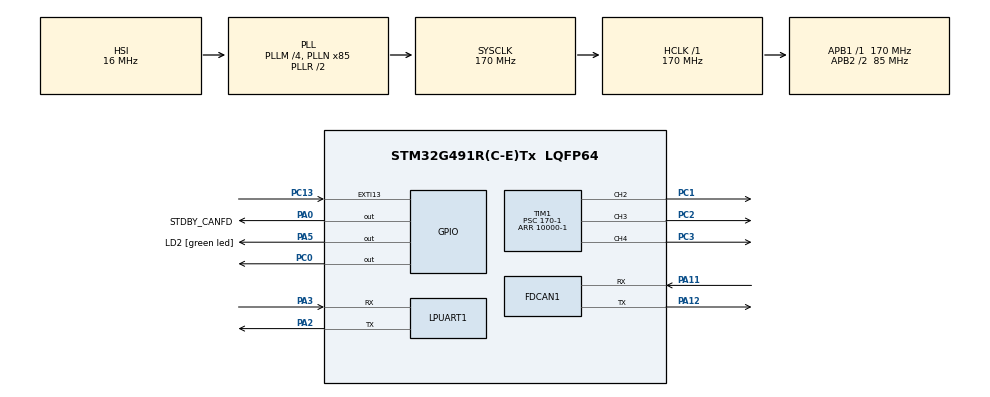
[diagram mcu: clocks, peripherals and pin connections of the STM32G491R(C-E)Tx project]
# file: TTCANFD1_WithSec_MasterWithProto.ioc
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Dma.LPUART1_TX.0.Direction=DMA_MEMORY_TO_PERIPH
Dma.LPUART1_TX.0.EventEnable=DISABLE
Dma.LPUART1_TX.0.Instance=DMA1_Channel1
Dma.LPUART1_TX.0.MemDataAlignment=DMA_MDATAALIGN_BYTE
Dma.LPUART1_TX.0.MemInc=DMA_MINC_ENABLE
Dma.LPUART1_TX.0.Mode=DMA_NORMAL
Dma.LPUART1_TX.0.PeriphDataAlignment=DMA_PDATAALIGN_BYTE
Dma.LPUART1_TX.0.PeriphInc=DMA_PINC_DISABLE
Dma.LPUART1_TX.0.Polarity=HAL_DMAMUX_REQ_GEN_RISING
Dma.LPUART1_TX.0.Priority=DMA_PRIORITY_MEDIUM
Dma.LPUART1_TX.0.RequestNumber=1
Dma.LPUART1_TX.0.SignalID=NONE
Dma.LPUART1_TX.0.SyncEnable=DISABLE
Dma.LPUART1_TX.0.SyncPolarity=HAL_DMAMUX_SYNC_NO_EVENT
Dma.LPUART1_TX.0.SyncRequestNumber=1
Dma.LPUART1_TX.0.SyncSignalID=NONE
Dma.Request0=LPUART1_TX
FDCAN1.AutoRetransmission=ENABLE
FDCAN1.CalculateBaudRateNominal=999999
FDCAN1.CalculateTimeBitNominal=1000
FDCAN1.CalculateTimeQuantumNominal=29.411764705882355
FDCAN1.DataPrescaler=1
FDCAN1.DataSyncJumpWidth=3
FDCAN1.DataTimeSeg1=17
FDCAN1.DataTimeSeg2=3
FDCAN1.FrameFormat=FDCAN_FRAME_FD_BRS
FDCAN1.NominalPrescaler=5
FDCAN1.NominalSyncJumpWidth=5
FDCAN1.NominalTimeSeg1=28
FDCAN1.NominalTimeSeg2=5
FDCAN1.ProtocolException=ENABLE
FDCAN1.StdFiltersNbr=1
FDCAN1.TransmitPause=ENABLE
Mcu.Family=STM32G4
Mcu.Name=STM32G491R(C-E)Tx
Mcu.Package=LQFP64
NVIC.DMA1_Channel1_IRQn=true\:0\:0\:false\:false\:true\:false\:true\:true
NVIC.EXTI15_10_IRQn=true\:2\:0\:true\:false\:true\:true\:true\:true
NVIC.FDCAN1_IT0_IRQn=true\:0\:0\:false\:false\:true\:true\:true\:true
NVIC.FDCAN1_IT1_IRQn=true\:0\:0\:false\:false\:true\:true\:true\:true
NVIC.LPUART1_IRQn=true\:2\:0\:true\:false\:true\:true\:true\:true
NVIC.PriorityGroup=NVIC_PRIORITYGROUP_4
NVIC.TIM1_CC_IRQn=true\:1\:0\:true\:false\:true\:true\:true\:true
NVIC.TIM1_TRG_COM_TIM17_IRQn=true\:3\:0\:true\:false\:true\:true\:true\:true
NVIC.TIM1_UP_TIM16_IRQn=true\:3\:0\:true\:false\:true\:true\:true\:true
PA0.GPIO_Label=STDBY_CANFD
PA0.GPIO_PuPd=GPIO_PULLDOWN
PA0.GPIO_Speed=GPIO_SPEED_FREQ_VERY_HIGH
PA0.Signal=GPIO_Output
PA11.Mode=FDCAN_Activate
PA11.Signal=FDCAN1_RX
PA12.Mode=FDCAN_Activate
PA12.Signal=FDCAN1_TX
PA13.GPIO_Label=T_SWDIO
PA13.Mode=Trace_Asynchronous_SW
PA13.Signal=SYS_JTMS-SWDIO
PA14.GPIO_Label=T_SWCLK
PA14.Mode=Trace_Asynchronous_SW
PA14.Signal=SYS_JTCK-SWCLK
PA2.GPIO_Mode=GPIO_MODE_AF_PP
PA2.GPIO_PuPd=GPIO_NOPULL
PA2.GPIO_Speed=GPIO_SPEED_FREQ_LOW
PA2.Mode=Asynchronous
PA2.Signal=LPUART1_TX
PA3.GPIO_Mode=GPIO_MODE_AF_PP
PA3.GPIO_PuPd=GPIO_NOPULL
PA3.GPIO_Speed=GPIO_SPEED_FREQ_LOW
PA3.Mode=Asynchronous
PA3.Signal=LPUART1_RX
PA5.GPIO_Label=LD2 [green led]
PA5.GPIO_Speed=GPIO_SPEED_FREQ_VERY_HIGH
PA5.Signal=GPIO_Output
PB3.GPIO_Label=T_SWO
PB3.Mode=Trace_Asynchronous_SW
PB3.Signal=SYS_JTDO-SWO
PC0.Signal=GPIO_Output
PC1.Signal=S_TIM1_CH2
PC13.Signal=GPXTI13
PC14-OSC32_IN.GPIO_Label=RCC_OSC32_IN
PC14-OSC32_IN.Mode=LSE-External-Oscillator
PC14-OSC32_IN.Signal=RCC_OSC32_IN
PC15-OSC32_OUT.GPIO_Label=RCC_OSC32_OUT
PC15-OSC32_OUT.Mode=LSE-External-Oscillator
PC15-OSC32_OUT.Signal=RCC_OSC32_OUT
PC2.Signal=S_TIM1_CH3
PC3.Signal=S_TIM1_CH4
PF0-OSC_IN.GPIO_Label=RCC_OSC_IN
PF0-OSC_IN.Mode=HSE-External-Oscillator
PF0-OSC_IN.Signal=RCC_OSC_IN
PF1-OSC_OUT.GPIO_Label=RCC_OSC_OUT
PF1-OSC_OUT.Mode=HSE-External-Oscillator
PF1-OSC_OUT.Signal=RCC_OSC_OUT
ProjectManager.HeapSize=0x600
ProjectManager.StackSize=0x600
ProjectManager.TargetToolchain=STM32CubeIDE
RCC.ADC12Freq_Value=170000000
RCC.ADC345Freq_Value=170000000
RCC.AHBFreq_Value=170000000
RCC.APB1Freq_Value=170000000
RCC.APB1TimFreq_Value=170000000
RCC.APB2CLKDivider=RCC_HCLK_DIV2
RCC.APB2Freq_Value=85000000
RCC.APB2TimFreq_Value=170000000
RCC.CortexFreq_Value=170000000
RCC.EXTERNAL_CLOCK_VALUE=12288000
RCC.HCLKFreq_Value=170000000
RCC.HSE_VALUE=48000000
RCC.HSI48_VALUE=48000000
RCC.HSI_VALUE=16000000
RCC.LPUART1CLockSelection=RCC_LPUART1CLKSOURCE_HSI
RCC.PLLM=RCC_PLLM_DIV4
RCC.PLLN=85
RCC.RTCClockSelection=RCC_RTCCLKSOURCE_LSE
RCC.SYSCLKFreq_VALUE=170000000
RCC.SYSCLKSource=RCC_SYSCLKSOURCE_PLLCLK
RCC.USBFreq_Value=48000000
RCC.VCOOutputFreq_Value=340000000
SH.S_TIM1_CH2.0=TIM1_CH2,Output Compare2 CH2
SH.S_TIM1_CH3.0=TIM1_CH3,Output Compare3 CH3
SH.S_TIM1_CH4.0=TIM1_CH4,Output Compare4 CH4
TIM1.AutoReloadPreload=TIM_AUTORELOAD_PRELOAD_DISABLE
TIM1.Channel-Output\ Compare2\ CH2=TIM_CHANNEL_2
TIM1.Channel-Output\ Compare3\ CH3=TIM_CHANNEL_3
TIM1.Channel-Output\ Compare4\ CH4=TIM_CHANNEL_4
TIM1.OCMode_2=TIM_OCMODE_TOGGLE
TIM1.OCMode_3=TIM_OCMODE_TOGGLE
TIM1.OCMode_4=TIM_OCMODE_TOGGLE
TIM1.OCPolarity_4=TIM_OCPOLARITY_HIGH
TIM1.PeriodNoDither=10000-1
TIM1.Prescaler=170-1
TIM1.TIM_MasterOutputTrigger=TIM_TRGO_UPDATE
TIM1.TIM_MasterOutputTrigger2=TIM_TRGO2_UPDATE
TIM2.AutoReloadPreload=TIM_AUTORELOAD_PRELOAD_ENABLE
TIM2.Prescaler=170-1
VP_SYS_VS_DBSignals.Mode=DisableDeadBatterySignals
VP_TIM1_VS_ClockSourceINT.Mode=Internal
VP_TIM2_VS_ClockSourceINT.Mode=Internal
board=NUCLEO-G491RE

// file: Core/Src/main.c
/* USER CODE BEGIN Header */
/**
  ******************************************************************************
  * @file           : main.c
  * @brief          : Main program body
  ******************************************************************************
  * @attention
  *
  * Copyright (c) 2025 STMicroelectronics.
  * All rights reserved.
  *
  * This software is licensed under terms that can be found in the LICENSE file
  * in the root directory of this software component.
  * If no LICENSE file comes with this software, it is provided AS-IS.
  *
  ******************************************************************************
  */
/* USER CODE END Header */
#include "main.h"

/* USER CODE BEGIN Includes */
#include "Main_Funcs.h"
#include "pb.h"
#include "pb_common.h"
#include "pb_encode.h"
#include "pb_decode.h"
#include "uart.pb.h"

#include "encoder.h"
/* USER CODE END Includes */

FDCAN_HandleTypeDef hfdcan1;

UART_HandleTypeDef hlpuart1;
DMA_HandleTypeDef hdma_lpuart1_tx;

TIM_HandleTypeDef htim1;
TIM_HandleTypeDef htim2;

void SystemClock_Config(void);
static void MX_GPIO_Init(void);
static void MX_DMA_Init(void);
static void MX_FDCAN1_Init(void);
static void MX_TIM2_Init(void);
static void MX_LPUART1_UART_Init(void);
static void MX_TIM1_Init(void);

int main(void)
{

  /* MCU Configuration--------------------------------------------------------*/

  /* Reset of all peripherals, Initializes the Flash interface and the Systick. */
  HAL_Init();

  /* Configure the system clock */
  SystemClock_Config();

  /* Initialize all configured peripherals */
  MX_GPIO_Init();
  MX_DMA_Init();
  MX_FDCAN1_Init();
  MX_TIM2_Init();
  MX_LPUART1_UART_Init();
  MX_TIM1_Init();
  /* USER CODE BEGIN 2 */
  MainInit();
  /* USER CODE END 2 */

  /* Infinite loop */
  /* USER CODE BEGIN WHILE */
  while (1)
  {
	  MainLoop();
    /* USER CODE END WHILE */

  }
}

void SystemClock_Config(void)
{
  RCC_OscInitTypeDef RCC_OscInitStruct = {0};
  RCC_ClkInitTypeDef RCC_ClkInitStruct = {0};

  /** Configure the main internal regulator output voltage
  */
  HAL_PWREx_ControlVoltageScaling(PWR_REGULATOR_VOLTAGE_SCALE1_BOOST);

  /** Initializes the RCC Oscillators according to the specified parameters
  * in the RCC_OscInitTypeDef structure.
  */
  RCC_OscInitStruct.OscillatorType = RCC_OSCILLATORTYPE_HSI;
  RCC_OscInitStruct.HSIState = RCC_HSI_ON;
  RCC_OscInitStruct.HSICalibrationValue = RCC_HSICALIBRATION_DEFAULT;
  RCC_OscInitStruct.PLL.PLLState = RCC_PLL_ON;
  RCC_OscInitStruct.PLL.PLLSource = RCC_PLLSOURCE_HSI;
  RCC_OscInitStruct.PLL.PLLM = RCC_PLLM_DIV4;
  RCC_OscInitStruct.PLL.PLLN = 85;
  RCC_OscInitStruct.PLL.PLLP = RCC_PLLP_DIV2;
  RCC_OscInitStruct.PLL.PLLQ = RCC_PLLQ_DIV2;
  RCC_OscInitStruct.PLL.PLLR = RCC_PLLR_DIV2;
  if (HAL_RCC_OscConfig(&RCC_OscInitStruct) != HAL_OK)
  {
    Error_Handler();
  }

  /** Initializes the CPU, AHB and APB buses clocks
  */
  RCC_ClkInitStruct.ClockType = RCC_CLOCKTYPE_HCLK|RCC_CLOCKTYPE_SYSCLK
                              |RCC_CLOCKTYPE_PCLK1|RCC_CLOCKTYPE_PCLK2;
  RCC_ClkInitStruct.SYSCLKSource = RCC_SYSCLKSOURCE_PLLCLK;
  RCC_ClkInitStruct.AHBCLKDivider = RCC_SYSCLK_DIV1;
  RCC_ClkInitStruct.APB1CLKDivider = RCC_HCLK_DIV1;
  RCC_ClkInitStruct.APB2CLKDivider = RCC_HCLK_DIV2;

  if (HAL_RCC_ClockConfig(&RCC_ClkInitStruct, FLASH_LATENCY_4) != HAL_OK)
  {
    Error_Handler();
  }
}

static void MX_FDCAN1_Init(void)
{

  hfdcan1.Instance = FDCAN1;
  hfdcan1.Init.ClockDivider = FDCAN_CLOCK_DIV1;
  hfdcan1.Init.FrameFormat = FDCAN_FRAME_FD_BRS;
  hfdcan1.Init.Mode = FDCAN_MODE_NORMAL;
  hfdcan1.Init.AutoRetransmission = ENABLE;
  hfdcan1.Init.TransmitPause = ENABLE;
  hfdcan1.Init.ProtocolException = ENABLE;
  hfdcan1.Init.NominalPrescaler = 5;
  hfdcan1.Init.NominalSyncJumpWidth = 5;
  hfdcan1.Init.NominalTimeSeg1 = 28;
  hfdcan1.Init.NominalTimeSeg2 = 5;
  hfdcan1.Init.DataPrescaler = 1;
  hfdcan1.Init.DataSyncJumpWidth = 3;
  hfdcan1.Init.DataTimeSeg1 = 17;
  hfdcan1.Init.DataTimeSeg2 = 3;
  hfdcan1.Init.StdFiltersNbr = 1;
  hfdcan1.Init.ExtFiltersNbr = 0;
  hfdcan1.Init.TxFifoQueueMode = FDCAN_TX_FIFO_OPERATION;
  if (HAL_FDCAN_Init(&hfdcan1) != HAL_OK)
  {
    Error_Handler();
  }
  /* USER CODE BEGIN FDCAN1_Init 2 */
	  FDCAN_FilterTypeDef canfdfilter;

	  canfdfilter.IdType 		= FDCAN_STANDARD_ID;
	  canfdfilter.FilterIndex 	= 0;
	  canfdfilter.FilterType	= FDCAN_FILTER_RANGE;
	  canfdfilter.FilterConfig 	= FDCAN_FILTER_TO_RXFIFO0;
	  canfdfilter.FilterID1	    = 0x000;
	  canfdfilter.FilterID2		= 0x7FF;

	  if (HAL_FDCAN_ConfigFilter(&hfdcan1, &canfdfilter) != HAL_OK)
	  {
	    Error_Handler();
	  }
  /* USER CODE END FDCAN1_Init 2 */

}

static void MX_LPUART1_UART_Init(void)
{

  hlpuart1.Instance = LPUART1;
  hlpuart1.Init.BaudRate = 209700;
  hlpuart1.Init.WordLength = UART_WORDLENGTH_8B;
  hlpuart1.Init.StopBits = UART_STOPBITS_1;
  hlpuart1.Init.Parity = UART_PARITY_NONE;
  hlpuart1.Init.Mode = UART_MODE_TX_RX;
  hlpuart1.Init.HwFlowCtl = UART_HWCONTROL_NONE;
  hlpuart1.Init.OneBitSampling = UART_ONE_BIT_SAMPLE_DISABLE;
  hlpuart1.Init.ClockPrescaler = UART_PRESCALER_DIV1;
  hlpuart1.AdvancedInit.AdvFeatureInit = UART_ADVFEATURE_NO_INIT;
  if (HAL_UART_Init(&hlpuart1) != HAL_OK)
  {
    Error_Handler();
  }
  if (HAL_UARTEx_SetTxFifoThreshold(&hlpuart1, UART_TXFIFO_THRESHOLD_1_8) != HAL_OK)
  {
    Error_Handler();
  }
  if (HAL_UARTEx_SetRxFifoThreshold(&hlpuart1, UART_RXFIFO_THRESHOLD_1_8) != HAL_OK)
  {
    Error_Handler();
  }
  if (HAL_UARTEx_DisableFifoMode(&hlpuart1) != HAL_OK)
  {
    Error_Handler();
  }

}

static void MX_TIM1_Init(void)
{

  TIM_ClockConfigTypeDef sClockSourceConfig = {0};
  TIM_MasterConfigTypeDef sMasterConfig = {0};
  TIM_OC_InitTypeDef sConfigOC = {0};
  TIM_BreakDeadTimeConfigTypeDef sBreakDeadTimeConfig = {0};

  htim1.Instance = TIM1;
  htim1.Init.Prescaler = 170-1;
  htim1.Init.CounterMode = TIM_COUNTERMODE_UP;
  htim1.Init.Period = 9999;
  htim1.Init.ClockDivision = TIM_CLOCKDIVISION_DIV1;
  htim1.Init.RepetitionCounter = 0;
  htim1.Init.AutoReloadPreload = TIM_AUTORELOAD_PRELOAD_DISABLE;
  if (HAL_TIM_Base_Init(&htim1) != HAL_OK)
  {
    Error_Handler();
  }
  sClockSourceConfig.ClockSource = TIM_CLOCKSOURCE_INTERNAL;
  if (HAL_TIM_ConfigClockSource(&htim1, &sClockSourceConfig) != HAL_OK)
  {
    Error_Handler();
  }
  if (HAL_TIM_OC_Init(&htim1) != HAL_OK)
  {
    Error_Handler();
  }
  sMasterConfig.MasterOutputTrigger = TIM_TRGO_UPDATE;
  sMasterConfig.MasterOutputTrigger2 = TIM_TRGO2_UPDATE;
  sMasterConfig.MasterSlaveMode = TIM_MASTERSLAVEMODE_DISABLE;
  if (HAL_TIMEx_MasterConfigSynchronization(&htim1, &sMasterConfig) != HAL_OK)
  {
    Error_Handler();
  }
  sConfigOC.OCMode = TIM_OCMODE_TOGGLE;
  sConfigOC.Pulse = 0;
  sConfigOC.OCPolarity = TIM_OCPOLARITY_HIGH;
  sConfigOC.OCNPolarity = TIM_OCNPOLARITY_HIGH;
  sConfigOC.OCFastMode = TIM_OCFAST_DISABLE;
  sConfigOC.OCIdleState = TIM_OCIDLESTATE_RESET;
  sConfigOC.OCNIdleState = TIM_OCNIDLESTATE_RESET;
  if (HAL_TIM_OC_ConfigChannel(&htim1, &sConfigOC, TIM_CHANNEL_2) != HAL_OK)
  {
    Error_Handler();
  }
  if (HAL_TIM_OC_ConfigChannel(&htim1, &sConfigOC, TIM_CHANNEL_3) != HAL_OK)
  {
    Error_Handler();
  }
  if (HAL_TIM_OC_ConfigChannel(&htim1, &sConfigOC, TIM_CHANNEL_4) != HAL_OK)
  {
    Error_Handler();
  }
  sBreakDeadTimeConfig.OffStateRunMode = TIM_OSSR_DISABLE;
  sBreakDeadTimeConfig.OffStateIDLEMode = TIM_OSSI_DISABLE;
  sBreakDeadTimeConfig.LockLevel = TIM_LOCKLEVEL_OFF;
  sBreakDeadTimeConfig.DeadTime = 0;
  sBreakDeadTimeConfig.BreakState = TIM_BREAK_DISABLE;
  sBreakDeadTimeConfig.BreakPolarity = TIM_BREAKPOLARITY_HIGH;
  sBreakDeadTimeConfig.BreakFilter = 0;
  sBreakDeadTimeConfig.BreakAFMode = TIM_BREAK_AFMODE_INPUT;
  sBreakDeadTimeConfig.Break2State = TIM_BREAK2_DISABLE;
  sBreakDeadTimeConfig.Break2Polarity = TIM_BREAK2POLARITY_HIGH;
  sBreakDeadTimeConfig.Break2Filter = 0;
  sBreakDeadTimeConfig.Break2AFMode = TIM_BREAK_AFMODE_INPUT;
  sBreakDeadTimeConfig.AutomaticOutput = TIM_AUTOMATICOUTPUT_DISABLE;
  if (HAL_TIMEx_ConfigBreakDeadTime(&htim1, &sBreakDeadTimeConfig) != HAL_OK)
  {
    Error_Handler();
  }
  HAL_TIM_MspPostInit(&htim1);

}

static void MX_TIM2_Init(void)
{

  TIM_ClockConfigTypeDef sClockSourceConfig = {0};
  TIM_MasterConfigTypeDef sMasterConfig = {0};

  htim2.Instance = TIM2;
  htim2.Init.Prescaler = 170-1;
  htim2.Init.CounterMode = TIM_COUNTERMODE_UP;
  htim2.Init.Period = 4294967295;
  htim2.Init.ClockDivision = TIM_CLOCKDIVISION_DIV1;
  htim2.Init.AutoReloadPreload = TIM_AUTORELOAD_PRELOAD_ENABLE;
  if (HAL_TIM_Base_Init(&htim2) != HAL_OK)
  {
    Error_Handler();
  }
  sClockSourceConfig.ClockSource = TIM_CLOCKSOURCE_INTERNAL;
  if (HAL_TIM_ConfigClockSource(&htim2, &sClockSourceConfig) != HAL_OK)
  {
    Error_Handler();
  }
  sMasterConfig.MasterOutputTrigger = TIM_TRGO_RESET;
  sMasterConfig.MasterSlaveMode = TIM_MASTERSLAVEMODE_DISABLE;
  if (HAL_TIMEx_MasterConfigSynchronization(&htim2, &sMasterConfig) != HAL_OK)
  {
    Error_Handler();
  }

}

static void MX_DMA_Init(void)
{

  /* DMA controller clock enable */
  __HAL_RCC_DMAMUX1_CLK_ENABLE();
  __HAL_RCC_DMA1_CLK_ENABLE();

  /* DMA interrupt init */
  /* DMA1_Channel1_IRQn interrupt configuration */
  HAL_NVIC_SetPriority(DMA1_Channel1_IRQn, 0, 0);
  HAL_NVIC_EnableIRQ(DMA1_Channel1_IRQn);

}

static void MX_GPIO_Init(void)
{
  GPIO_InitTypeDef GPIO_InitStruct = {0};

  /* GPIO Ports Clock Enable */
  __HAL_RCC_GPIOC_CLK_ENABLE();
  __HAL_RCC_GPIOF_CLK_ENABLE();
  __HAL_RCC_GPIOA_CLK_ENABLE();
  __HAL_RCC_GPIOB_CLK_ENABLE();

  /*Configure GPIO pin Output Level */
  HAL_GPIO_WritePin(GPIOC, GPIO_PIN_0, GPIO_PIN_RESET);

  /*Configure GPIO pin Output Level */
  HAL_GPIO_WritePin(GPIOA, STDBY_CANFD_Pin|LD2_Pin, GPIO_PIN_RESET);

  /*Configure GPIO pin : PC13 */
  GPIO_InitStruct.Pin = GPIO_PIN_13;
  GPIO_InitStruct.Mode = GPIO_MODE_IT_RISING;
  GPIO_InitStruct.Pull = GPIO_NOPULL;
  HAL_GPIO_Init(GPIOC, &GPIO_InitStruct);

  /*Configure GPIO pin : PC0 */
  GPIO_InitStruct.Pin = GPIO_PIN_0;
  GPIO_InitStruct.Mode = GPIO_MODE_OUTPUT_PP;
  GPIO_InitStruct.Pull = GPIO_NOPULL;
  GPIO_InitStruct.Speed = GPIO_SPEED_FREQ_LOW;
  HAL_GPIO_Init(GPIOC, &GPIO_InitStruct);

  /*Configure GPIO pin : STDBY_CANFD_Pin */
  GPIO_InitStruct.Pin = STDBY_CANFD_Pin;
  GPIO_InitStruct.Mode = GPIO_MODE_OUTPUT_PP;
  GPIO_InitStruct.Pull = GPIO_PULLDOWN;
  GPIO_InitStruct.Speed = GPIO_SPEED_FREQ_VERY_HIGH;
  HAL_GPIO_Init(STDBY_CANFD_GPIO_Port, &GPIO_InitStruct);

  /*Configure GPIO pin : LD2_Pin */
  GPIO_InitStruct.Pin = LD2_Pin;
  GPIO_InitStruct.Mode = GPIO_MODE_OUTPUT_PP;
  GPIO_InitStruct.Pull = GPIO_NOPULL;
  GPIO_InitStruct.Speed = GPIO_SPEED_FREQ_VERY_HIGH;
  HAL_GPIO_Init(LD2_GPIO_Port, &GPIO_InitStruct);

  /* EXTI interrupt init*/
  HAL_NVIC_SetPriority(EXTI15_10_IRQn, 2, 0);
  HAL_NVIC_EnableIRQ(EXTI15_10_IRQn);

}

/* USER CODE BEGIN 4 */
int _write(int file, char *ptr, int len)
{
    HAL_UART_Transmit_DMA(&hlpuart1, (uint8_t *)ptr, len);
    return len;
}
/* USER CODE END 4 */

void Error_Handler(void)
{
	  __disable_irq();
	  while (1)
	  {
	  }
}
